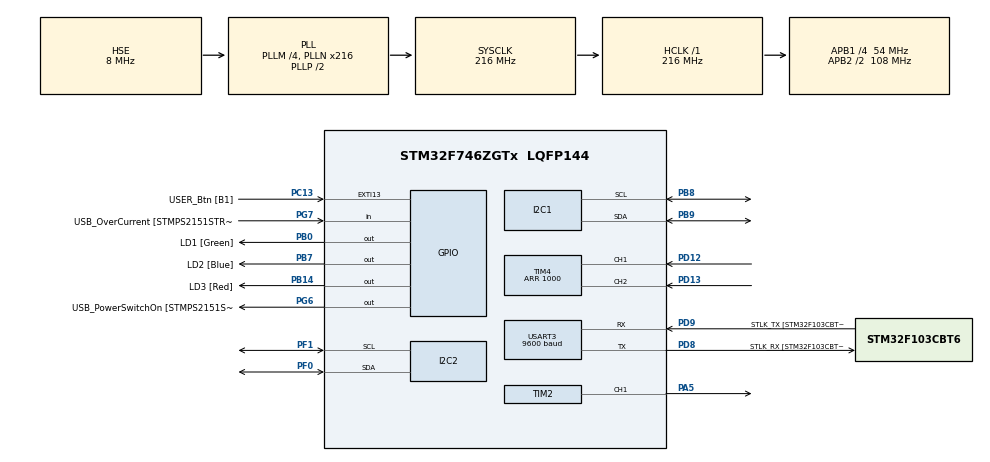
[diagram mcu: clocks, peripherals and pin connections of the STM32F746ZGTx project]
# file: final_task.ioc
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ARM.CMSIS.5.7.0.CMSISJjCORE=true
ARM.CMSIS.5.7.0.CMSISJjDSP=Library
I2C1.Timing=0x20404768
I2C2.Timing=0x20404768
Mcu.Family=STM32F7
Mcu.Name=STM32F746ZGTx
Mcu.Package=LQFP144
NVIC.EXTI15_10_IRQn=true\:0\:0\:false\:false\:true\:true\:true
NVIC.I2C1_ER_IRQn=true\:0\:0\:false\:false\:true\:true\:true
NVIC.I2C1_EV_IRQn=true\:0\:0\:false\:false\:true\:true\:true
NVIC.PriorityGroup=NVIC_PRIORITYGROUP_4
NVIC.TIM2_IRQn=true\:0\:0\:false\:false\:true\:true\:true
NVIC.TIM3_IRQn=true\:0\:0\:false\:false\:true\:true\:true
NVIC.TIM4_IRQn=true\:0\:0\:false\:false\:true\:true\:true
NVIC.TIM5_IRQn=true\:0\:0\:false\:false\:true\:true\:true
NVIC.USART3_IRQn=true\:0\:0\:false\:false\:true\:true\:true
PA1.GPIO_Label=RMII_REF_CLK [LAN8742A-CZ-TR_REFCLK0]
PA1.Signal=ETH_REF_CLK
PA10.GPIO_Label=USB_ID
PA10.Signal=USB_OTG_FS_ID
PA11.GPIO_Label=USB_DM
PA11.Signal=USB_OTG_FS_DM
PA12.GPIO_Label=USB_DP
PA12.Signal=USB_OTG_FS_DP
PA13.GPIO_Label=TMS
PA13.Mode=Serial_Wire
PA13.Signal=SYS_JTMS-SWDIO
PA14.GPIO_Label=TCK
PA14.Mode=Serial_Wire
PA14.Signal=SYS_JTCK-SWCLK
PA2.GPIO_Label=RMII_MDIO [LAN8742A-CZ-TR_MDIO]
PA2.Signal=ETH_MDIO
PA5.Signal=S_TIM2_CH1_ETR
PA7.GPIO_Label=RMII_CRS_DV [LAN8742A-CZ-TR_CRS_DV]
PA7.Signal=ETH_CRS_DV
PA8.GPIO_Label=USB_SOF [TP1]
PA8.Signal=USB_OTG_FS_SOF
PA9.GPIO_Label=USB_VBUS
PA9.Signal=USB_OTG_FS_VBUS
PB0.GPIO_Label=LD1 [Green]
PB0.Signal=GPIO_Output
PB13.GPIO_Label=RMII_TXD1 [LAN8742A-CZ-TR_TXD1]
PB13.Signal=ETH_TXD1
PB14.GPIO_Label=LD3 [Red]
PB14.Signal=GPIO_Output
PB3.GPIO_Label=SW0
PB3.Signal=SYS_JTDO-SWO
PB7.GPIO_Label=LD2 [Blue]
PB7.Signal=GPIO_Output
PB8.Mode=I2C
PB8.Signal=I2C1_SCL
PB9.Mode=I2C
PB9.Signal=I2C1_SDA
PC1.GPIO_Label=RMII_MDC [LAN8742A-CZ-TR_MDC]
PC1.Signal=ETH_MDC
PC13.GPIO_Label=USER_Btn [B1]
PC13.Signal=GPXTI13
PC14/OSC32_IN.Mode=LSE-External-Oscillator
PC14/OSC32_IN.Signal=RCC_OSC32_IN
PC15/OSC32_OUT.Mode=LSE-External-Oscillator
PC15/OSC32_OUT.Signal=RCC_OSC32_OUT
PC4.GPIO_Label=RMII_RXD0 [LAN8742A-CZ-TR_RXD0]
PC4.Signal=ETH_RXD0
PC5.GPIO_Label=RMII_RXD1 [LAN8742A-CZ-TR_RXD1]
PC5.Signal=ETH_RXD1
PD12.Signal=S_TIM4_CH1
PD13.Signal=S_TIM4_CH2
PD8.GPIO_Label=STLK_RX [STM32F103CBT6_PA3]
PD8.Mode=Asynchronous
PD8.Signal=USART3_TX
PD9.GPIO_Label=STLK_TX [STM32F103CBT6_PA2]
PD9.Mode=Asynchronous
PD9.Signal=USART3_RX
PF0.Mode=I2C
PF0.Signal=I2C2_SDA
PF1.Mode=I2C
PF1.Signal=I2C2_SCL
PG11.GPIO_Label=RMII_TX_EN [LAN8742A-CZ-TR_TXEN]
PG11.Signal=ETH_TX_EN
PG13.GPIO_Label=RMII_TXD0 [LAN8742A-CZ-TR_TXD0]
PG13.Signal=ETH_TXD0
PG6.GPIO_Label=USB_PowerSwitchOn [STMPS2151STR_EN]
PG6.Signal=GPIO_Output
PG7.GPIO_Label=USB_OverCurrent [STMPS2151STR_FAULT]
PG7.Signal=GPIO_Input
PH0/OSC_IN.GPIO_Label=MCO [STM32F103CBT6_PA8]
PH0/OSC_IN.Mode=HSE-External-Clock-Source
PH0/OSC_IN.Signal=RCC_OSC_IN
PH1/OSC_OUT.Mode=HSE-External-Clock-Source
PH1/OSC_OUT.Signal=RCC_OSC_OUT
ProjectManager.HeapSize=0x200
ProjectManager.StackSize=0x400
ProjectManager.TargetToolchain=STM32CubeIDE
RCC.48MHZClocksFreq_Value=24000000
RCC.AHBFreq_Value=216000000
RCC.APB1CLKDivider=RCC_HCLK_DIV4
RCC.APB1Freq_Value=54000000
RCC.APB1TimFreq_Value=108000000
RCC.APB2CLKDivider=RCC_HCLK_DIV2
RCC.APB2Freq_Value=108000000
RCC.APB2TimFreq_Value=216000000
RCC.CortexFreq_Value=216000000
RCC.HCLKFreq_Value=216000000
RCC.HSE_VALUE=8000000
RCC.HSI_VALUE=16000000
RCC.PLLM=4
RCC.PLLMUL=RCC_PLL_MUL9
RCC.PLLN=216
RCC.PLLQ=3
RCC.PLLSourceVirtual=RCC_PLLSOURCE_HSE
RCC.PRESCALERUSB=RCC_USBCLKSOURCE_PLL_DIV1_5
RCC.SYSCLKFreq_VALUE=216000000
RCC.SYSCLKSource=RCC_SYSCLKSOURCE_PLLCLK
RCC.SYSCLKSourceVirtual=RCC_SYSCLKSOURCE_PLLCLK
RCC.USBFreq_Value=144000000
RCC.VCOOutputFreq_Value=432000000
SH.S_TIM2_CH1_ETR.0=TIM2_CH1,PWM Generation1 CH1
SH.S_TIM4_CH1.0=TIM4_CH1,Encoder_Interface
SH.S_TIM4_CH2.0=TIM4_CH2,Encoder_Interface
TIM2.Channel-PWM\ Generation1\ CH1=TIM_CHANNEL_1
TIM2.OCMode_PWM-PWM\ Generation1\ CH1=TIM_OCMODE_PWM1
TIM2.Period=1000 -1
TIM2.Prescaler=108 - 1
TIM2.Pulse-PWM\ Generation1\ CH1=1000
TIM3.Period=1000-1
TIM3.Prescaler=108-1
TIM4.EncoderMode=TIM_ENCODERMODE_TI12
TIM4.IC1Filter=15
TIM4.IC1Polarity=TIM_ICPOLARITY_FALLING
TIM4.IC2Filter=15
TIM4.Period=1000
TIM5.Period=9999
TIM5.Prescaler=107
USART3.BaudRate=9600
USART3.VirtualMode-Asynchronous=VM_ASYNC
VP_ARM.CMSIS_VS_CMSISJjCORE_5.4.0_5.7.0.Mode=CMSISJjCORE
VP_ARM.CMSIS_VS_CMSISJjDSP_1.8.0_5.7.0.Mode=CMSISJjDSP
VP_TIM2_VS_ClockSourceINT.Mode=Internal
VP_TIM3_VS_ClockSourceINT.Mode=Internal
VP_TIM5_VS_ClockSourceINT.Mode=Internal
board=NUCLEO-F746ZG

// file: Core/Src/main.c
/* USER CODE BEGIN Header */
/**
 ******************************************************************************
 * @file           : main.c
 * @brief          : Main program body
 ******************************************************************************
 * @attention
 *
 * Copyright (c) 2022 STMicroelectronics.
 * All rights reserved.
 *
 * This software is licensed under terms that can be found in the LICENSE file
 * in the root directory of this software component.
 * If no LICENSE file comes with this software, it is provided AS-IS.
 *
 ******************************************************************************
 */
/* USER CODE END Header */
#include "main.h"
#include "i2c.h"
#include "tim.h"
#include "usart.h"
#include "gpio.h"
// #include
/* USER CODE BEGIN Includes */
#include <stdio.h>
#include <stdlib.h>
#include <string.h>

//Including light sensor
#include "bh1750_config.h"
#include "bh1750.h"

//Including LCD file
#include "lcd_i2c.h"
/* USER CODE END Includes */

/* USER CODE BEGIN PV */
//PID variables
float error;
float set_point=490;
float prev_error;
float I, Integral, prev_Integral;
float pwm_i;
float pwm_p;
float error_p;

// HUART
char text[10];
char input[4] = "";

char text1[20];
char text2[20];
char text3[20];
char text4[20];

int length1, length2, length3;
uint8_t length;

// Light
float lightLUXint;

//PWM
float pwm_duty_f;
float pwm_duty =0;

// LCD variables;
struct lcd_disp disp;
char LCDdisplay1[17];
char LCDdisplay2[17];

int new_set;

// rotary encoder
uint32_t encoder_coutner = 0;
uint32_t temp = 0;
int16_t count;
int16_t position = 0;

//PID variables

float kp =0.01;
float ki =0.001;
float kd =0;
/* USER CODE END PV */

void SystemClock_Config(void);

/* USER CODE BEGIN 0 */
int v1,v2,v3;
void HAL_UART_RxCpltCallback (UART_HandleTypeDef * huart)
{
	HAL_UART_Receive_IT(&huart3, &input, 4);
	char idx =input[0];

	if(idx=='S'){

		v1 = (int)(input[1]-'0');
		v2 = (int)(input[2]-'0');
		v3 = (int)(input[3]-'0');
		new_set = v1*100+v2*10+v3;
		set_point=new_set;

		HAL_GPIO_TogglePin(LD2_GPIO_Port, LD2_Pin);
	}
	 if(idx == 'g'){
		HAL_GPIO_TogglePin(LD1_GPIO_Port, LD1_Pin);
		int disp_out;
		int disp_set;
		int disp_error;

		disp_out = (int)lightLUXint;
		disp_set = (int)set_point;
		disp_error=(int)error_p;

		length1 = snprintf(text1, 20, "SET:%d lux \r\n", disp_out);
		length2 = snprintf(text2, 20, "OUT:%d lux \r\n", disp_set);
		length3 = snprintf(text3, 20, "ERR:%d lux \r\n", disp_error);
		length_duty = snprintf(text4, 20, "DUTY:%d %%\r\n", (int)pwm_duty);

		if(input[3]=='U'){
			HAL_UART_Transmit(&huart3, (uint8_t*)text1, length1, 100);
		}
		else if(input[3]=='Y'){
			HAL_UART_Transmit(&huart3, (uint8_t*)text2, length2, 100);
		}
		else if(input[3]=='E'){
			HAL_UART_Transmit(&huart3, (uint8_t*)text3, length3, 100);
		}
		else if(input[3]=='D'){
			HAL_UART_Transmit(&huart3, (uint8_t*)text4, length_duty, 100);
		}
	}

}
void HAL_TIM_PeriodElapsedCallback (TIM_HandleTypeDef *htim){
	if(htim->Instance == TIM3){

		//read the input
		lightLUXint = BH1750_ReadLux(&hbh1750_1);
		//calculate the error
		error=set_point-lightLUXint;
		//calculate error percentage
		error_p=error/1000*100;
		// PI Controll

		//Integral, prev_Integral;
		I = prev_Integral+error+prev_error;
		pwm_i=I*ki;

		prev_Integral=I;
		prev_error = error;

		//Proportional
		pwm_p=kp*error;

		//calculating the PWM
		pwm_duty=pwm_i+pwm_p;

		if(pwm_duty>999)
			pwm_duty=999;
		else if(pwm_duty<0)
			pwm_duty=0;

		// setting the PWM using timer 2 channel 1
		__HAL_TIM_SET_COMPARE(&htim2, TIM_CHANNEL_1, pwm_duty);
	}
}
void HAL_TIM_IC_CaptureCallback(TIM_HandleTypeDef *htim)
{
	//setting the counter for the encoder
	encoder_coutner=__HAL_TIM_GET_COUNTER(htim);
	//counts
	count = (int16_t)count;
	//position if we need it
	position = count/4;
	//sconfiguring the setpoint with the rotary encoder
	set_point=encoder_coutner;
}

/* USER CODE END 0 */

int main(void)
{

  /* MCU Configuration--------------------------------------------------------*/

  /* Reset of all peripherals, Initializes the Flash interface and the Systick. */
  HAL_Init();

  /* Configure the system clock */
  SystemClock_Config();

  /* Initialize all configured peripherals */
  MX_TIM2_Init();
  MX_I2C1_Init();
  MX_USART3_UART_Init();
  MX_GPIO_Init();
  MX_TIM3_Init();
  MX_I2C2_Init();
  MX_TIM4_Init();
  MX_TIM5_Init();
  /* USER CODE BEGIN 2 */
	BH1750_Init(&hbh1750_1);
	HAL_TIM_PWM_Start(&htim2, TIM_CHANNEL_1);//Timer to Generate PWM
	HAL_UART_Receive_IT(&huart3, &input, 4); // Usart to configure the serial port Interface
	HAL_TIM_Base_Start_IT(&htim3);//Timer with a frequency of 1MHz
	HAL_TIM_Base_Start_IT(&htim4);//Timer configured in Encoder mode
	HAL_TIM_Base_Start_IT(&htim5);//

	//start the timer in encoder mode
	HAL_TIM_Encoder_Start_IT(&htim4, TIM_CHANNEL_ALL);

	// LCD configuration
	disp.addr = (0x3F << 1); // defining the display adress
	disp.bl = true;
	lcd_init(&disp);// Init LCD

	//setting the display output variables
	int disp_out;
	int disp_set;
	int disp_error;
  /* USER CODE END 2 */

  /* Infinite loop */
  /* USER CODE BEGIN WHILE */
	while (1)
	{

		disp_out = (int)lightLUXint;
		disp_set = (int)set_point;
		disp_error=(int)error_p;

		//printing the 1st line of display
		sprintf(LCDdisplay1, "OUT:%d lux", disp_out);
		//printing the 2nd line of display
		sprintf(LCDdisplay2, "SET:%d lux",disp_set);

		sprintf((char *)disp.f_line, LCDdisplay1);
		sprintf((char *)disp.s_line, LCDdisplay2);

		lcd_display(&disp);

		length = snprintf(text, 20, "OUT:%d lux \r\n", disp_out);

		HAL_Delay(500);// delay to refresh the LCD

    /* USER CODE END WHILE */

	}
}

void SystemClock_Config(void)
{
  RCC_OscInitTypeDef RCC_OscInitStruct = {0};
  RCC_ClkInitTypeDef RCC_ClkInitStruct = {0};

  /** Configure LSE Drive Capability
  */
  HAL_PWR_EnableBkUpAccess();
  /** Configure the main internal regulator output voltage
  */
  __HAL_RCC_PWR_CLK_ENABLE();
  __HAL_PWR_VOLTAGESCALING_CONFIG(PWR_REGULATOR_VOLTAGE_SCALE1);
  /** Initializes the RCC Oscillators according to the specified parameters
  * in the RCC_OscInitTypeDef structure.
  */
  RCC_OscInitStruct.OscillatorType = RCC_OSCILLATORTYPE_HSE;
  RCC_OscInitStruct.HSEState = RCC_HSE_BYPASS;
  RCC_OscInitStruct.PLL.PLLState = RCC_PLL_ON;
  RCC_OscInitStruct.PLL.PLLSource = RCC_PLLSOURCE_HSE;
  RCC_OscInitStruct.PLL.PLLM = 4;
  RCC_OscInitStruct.PLL.PLLN = 216;
  RCC_OscInitStruct.PLL.PLLP = RCC_PLLP_DIV2;
  RCC_OscInitStruct.PLL.PLLQ = 3;
  if (HAL_RCC_OscConfig(&RCC_OscInitStruct) != HAL_OK)
  {
    Error_Handler();
  }
  /** Activate the Over-Drive mode
  */
  if (HAL_PWREx_EnableOverDrive() != HAL_OK)
  {
    Error_Handler();
  }
  /** Initializes the CPU, AHB and APB buses clocks
  */
  RCC_ClkInitStruct.ClockType = RCC_CLOCKTYPE_HCLK|RCC_CLOCKTYPE_SYSCLK
                              |RCC_CLOCKTYPE_PCLK1|RCC_CLOCKTYPE_PCLK2;
  RCC_ClkInitStruct.SYSCLKSource = RCC_SYSCLKSOURCE_PLLCLK;
  RCC_ClkInitStruct.AHBCLKDivider = RCC_SYSCLK_DIV1;
  RCC_ClkInitStruct.APB1CLKDivider = RCC_HCLK_DIV4;
  RCC_ClkInitStruct.APB2CLKDivider = RCC_HCLK_DIV2;

  if (HAL_RCC_ClockConfig(&RCC_ClkInitStruct, FLASH_LATENCY_7) != HAL_OK)
  {
    Error_Handler();
  }
}

void Error_Handler(void)
{
	__disable_irq();
	while (1)
	{
	}
}
